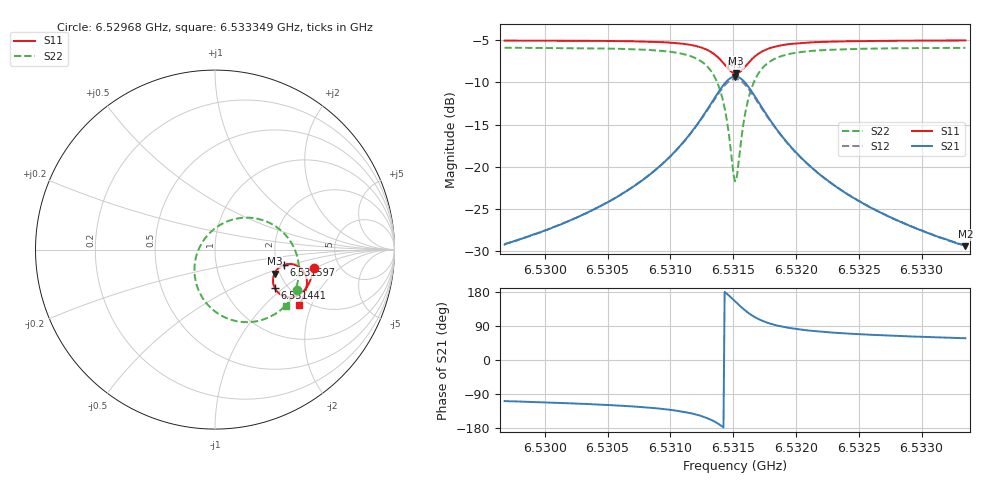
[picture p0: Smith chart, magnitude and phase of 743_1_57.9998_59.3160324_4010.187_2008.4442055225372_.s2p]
#  HZ  S  RI  R  50.00
! Rohde & Schwarz Vector Network Analyzer
! Rohde-Schwarz,ZNB20-2Port,1311601062101988,3.16
! Created: UTC 3/21/2024, 1:23:40 AM
! freq[Hz]  re:S11  im:S11  re:S21  im:S21  re:S12  im:S12  re:S22  im:S22
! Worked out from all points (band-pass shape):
!   401 points, 6.52968 GHz to 6.533349 GHz, reference 50 ohm
!   highest |S21| = -9.29 dB at 6.531515 GHz (marker M1); lowest = -29.4 dB at 6.533349 GHz (marker M2)
!   |S21| within 3 dB of the highest: 6.531333 GHz to 6.5317 GHz (366.8 kHz wide, 0.00562 % of centre)
!   lowest |S11| = -8.9 dB at 6.531524 GHz (marker M3), VSWR 2.11, Z = 93.9 - j28.7 ohm
!   |S11| at or under -10 dB: nowhere
!   |S22| runs from -21.7 to -5.9 dB; largest |S21 - S12| = 0.014
!   S11 on the Smith chart (normalised r, x): 6.52968 GHz: 3.22, -0.98; 6.531441 GHz: 1.72, -0.88; 6.531597 GHz: 2.19, -0.44; 6.533349 GHz: 1.81, -1.64
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6.5296804e9  0.5503 -0.1049  -0.0108 -0.0328  -0.0117 -0.0327  0.4566 -0.223
6.5302949e9  0.5363 -0.1569  -0.0223 -0.0465  -0.0234 -0.0461  0.4196 -0.281
6.5306618e9  0.5213 -0.1925  -0.0381 -0.0617  -0.0399 -0.0607  0.3784 -0.3257
6.5309095e9  0.5033 -0.2207  -0.0616 -0.0785  -0.064 -0.0766  0.3259 -0.364
6.5311296e9  0.4706 -0.2502  -0.1101 -0.0981  -0.1129 -0.094  0.2295 -0.3997
6.5312855e9  0.4197 -0.2655  -0.1893 -0.0989  -0.191 -0.0906  0.0865 -0.3901
6.5313772e9  0.3692 -0.2524  -0.2666 -0.0599  -0.2636 -0.0485  -0.0389 -0.3087
6.5314139e9  0.3473 -0.2349  -0.2985 -0.0233  -0.292 -0.0118  -0.0851 -0.241
6.5314414e9  0.3335 -0.2149  -0.3171 0.0149  -0.3079 0.0251  -0.108 -0.1744
6.5314965e9  0.3237 -0.1614  -0.3223 0.1111  -0.309 0.116  -0.0979 -0.0157
6.5315148e9  0.328 -0.1424  -0.3114 0.1441  -0.2978 0.1466  -0.0737 0.0358
6.531524e9  0.3317 -0.1333  -0.3032 0.1596  -0.29 0.1609  -0.058 0.0597
6.5315423e9  0.3417 -0.1166  -0.2832 0.1879  -0.2706 0.187  -0.0201 0.1017
6.5315974e9  0.3852 -0.0851  -0.2033 0.2398  -0.1951 0.235  0.1199 0.1727
6.5316249e9  0.4083 -0.0803  -0.1625 0.2471  -0.1565 0.2422  0.1885 0.1779
6.5316616e9  0.4358 -0.0821  -0.1151 0.2436  -0.1113 0.2392  0.2672 0.1636
6.5317533e9  0.4806 -0.1062  -0.039 0.2067  -0.0375 0.2044  0.3897 0.0851
6.5318909e9  0.506 -0.1461  0.00516 0.1509  0.00641 0.1501  0.4543 -0.0254
6.5321294e9  0.5119 -0.1936  0.0223 0.0957  0.0234 0.0954  0.467 -0.1376
6.532432e9  0.5045 -0.2325  0.0236 0.0628  0.0246 0.0626  0.4526 -0.2111
6.5327439e9  0.4933 -0.2624  0.0218 0.0455  0.0227 0.0452  0.4335 -0.2567
6.5333493e9  0.4686 -0.3093  0.0182 0.0285  0.0189 0.0282  0.3982 -0.3141
